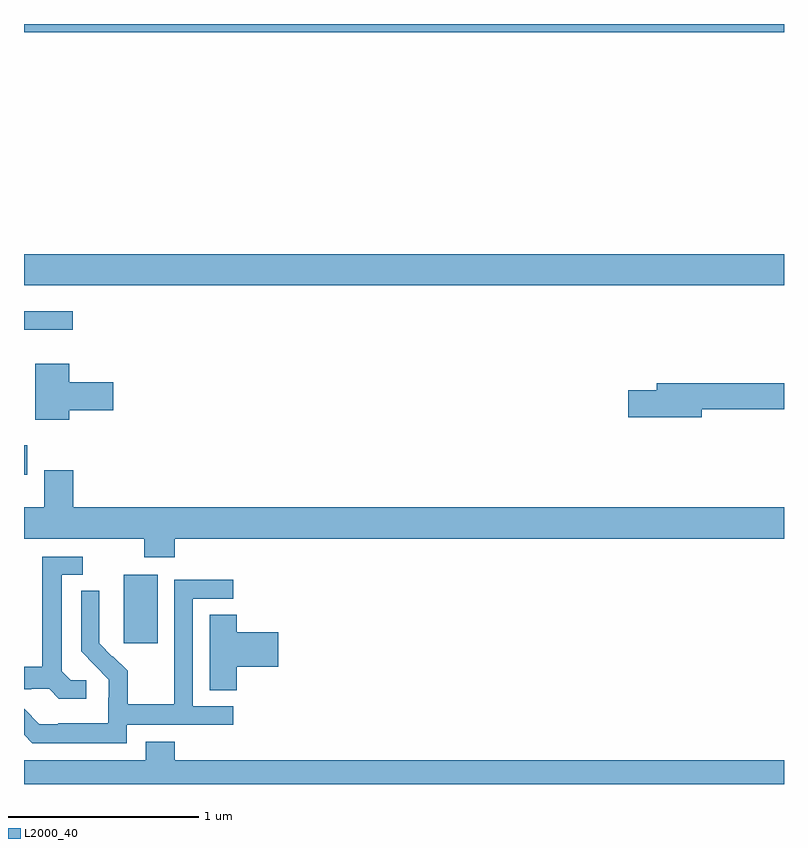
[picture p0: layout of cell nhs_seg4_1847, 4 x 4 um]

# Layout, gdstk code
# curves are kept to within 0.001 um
import gdstk
lib = gdstk.Library(unit=1e-6, precision=1e-09)
def R(c, l, rs):  # rectangles x0, y0, x1, y1
    for r in rs: c.add(gdstk.rectangle(r[:2], r[2:], *l))
def P(c, l, *ps):  # polygons
    for p in ps: c.add(gdstk.Polygon(p, *l))
L2000_40 = (2000, 40)

nhs_seg4_1847 = lib.new_cell('nhs_seg4_1847')
R(nhs_seg4_1847, L2000_40, [(207.524,757.641,207.703,758.002), (207,758.528,207.016,758.682), (207,759.291,207.256,759.388), (207,759.524,211,759.688), (207,760.856,211,760.9)])
P(nhs_seg4_1847, L2000_40, [(207.238,758.867),(207.469,758.867),(207.469,759.014),(207.238,759.014),(207.238,759.112),(207.059,759.112),(207.059,758.816),(207.238,758.816)],
  [(210.568,758.872),(211,758.872),(211,759.008),(210.329,759.008),(210.329,758.972),(210.18,758.972),(210.18,758.83),(210.568,758.83)],
  [(207.794,758.192),(211,758.192),(211,758.356),(207.26,758.356),(207.26,758.551),(207.107,758.551),(207.107,758.356),(207,758.356),(207,758.192),(207.634,758.192),(207.634,758.093),(207.794,758.093)],
  [(207.328,757.446),(207.246,757.446),(207.199,757.493),(207.199,758.001),(207.31,758.001),(207.31,758.097),(207.095,758.097),(207.095,757.517),(207,757.517),(207,757.398),(207.038,757.398),(207.038,757.401),(207.132,757.401),(207.184,757.349),(207.328,757.349)],
  [(207.54,757.212),(208.102,757.212),(208.102,757.308),(207.888,757.308),(207.888,757.875),(208.102,757.875),(208.102,757.974),(207.792,757.974),(207.792,757.544),(207.79,757.544),(207.79,757.321),(207.545,757.321),(207.545,757.495),(207.468,757.572),(207.465,757.569),(207.395,757.64),(207.396,757.916),(207.3,757.916),(207.3,757.598),(207.446,757.45),(207.446,757.353),(207.444,757.353),(207.444,757.219),(207.181,757.219),(207.181,757.215),(207.081,757.215),(207,757.296),(207,757.158),(207.043,757.115),(207.54,757.115)],
  [(208.121,757.517),(208.339,757.517),(208.339,757.7),(208.121,757.7),(208.121,757.79),(207.977,757.79),(207.977,757.393),(208.121,757.393)],
  [(211,757.024),(207.794,757.024),(207.794,757.123),(207.641,757.123),(207.641,757.024),(207,757.024),(207,756.9),(211,756.9)])

lib.write_gds('nhs_seg4_1847.gds')
